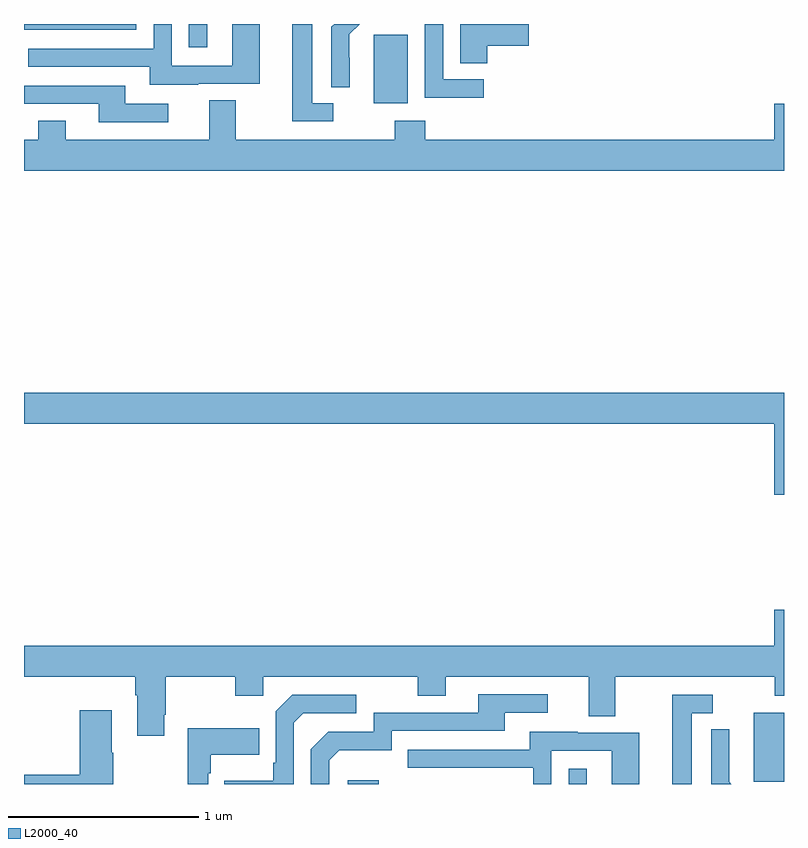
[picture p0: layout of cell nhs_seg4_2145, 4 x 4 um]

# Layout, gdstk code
import gdstk
lib = gdstk.Library(unit=1e-6, precision=1e-09)
def R(c, l, rs):  # rectangles x0, y0, x1, y1
    for r in rs: c.add(gdstk.rectangle(r[:2], r[2:], *l))
def P(c, l, *ps):  # polygons
    for p in ps: c.add(gdstk.Polygon(p, *l))
L2000_40 = (2000, 40)

nhs_seg4_2145 = lib.new_cell('nhs_seg4_2145')
R(nhs_seg4_2145, L2000_40, [(222.705,818.9,222.866,818.92), (223.866,818.9,223.963,818.98), (224.84,818.913,225,819.274), (222.842,822.482,223.021,822.843), (221.868,822.777,221.965,822.9), (221,822.87,221.592,822.9)])
P(nhs_seg4_2145, L2000_40, [(223.42,822.609),(223.206,822.609),(223.206,822.9),(223.11,822.9),(223.11,822.511),(223.42,822.511)],
  [(222.628,822.483),(222.517,822.483),(222.517,822.9),(222.413,822.9),(222.413,822.387),(222.628,822.387)],
  [(222.714,822.722),(222.713,822.722),(222.713,822.845),(222.768,822.9),(222.632,822.9),(222.618,822.886),(222.618,822.568),(222.714,822.568)],
  [(221.917,822.585),(222.241,822.585),(222.241,822.9),(222.096,822.9),(222.096,822.681),(221.778,822.681),(221.778,822.9),(221.682,822.9),(221.682,822.771),(221.023,822.771),(221.023,822.675),(221.663,822.675),(221.663,822.581),(221.917,822.581)],
  [(223.439,822.785),(223.657,822.785),(223.657,822.9),(223.295,822.9),(223.295,822.694),(223.439,822.694)],
  [(221.758,822.48),(221.533,822.48),(221.533,822.576),(221,822.576),(221,822.48),(221.393,822.48),(221.393,822.384),(221.758,822.384)],
  [(221.074,822.391),(221.074,822.292),(221,822.292),(221,822.128),(225,822.128),(225,822.481),(224.948,822.481),(224.948,822.292),(223.112,822.292),(223.112,822.391),(222.952,822.391),(222.952,822.292),(222.115,822.292),(222.115,822.5),(221.975,822.5),(221.975,822.292),(221.221,822.292),(221.221,822.391)],
  [(225,820.96),(221,820.96),(221,820.796),(224.948,820.796),(224.948,820.422),(225,820.422)],
  [(221,819.464),(221.585,819.464),(221.585,819.368),(221.597,819.368),(221.597,819.153),(221.737,819.153),(221.737,819.265),(221.745,819.265),(221.745,819.464),(222.112,819.464),(222.112,819.365),(222.258,819.365),(222.258,819.464),(223.072,819.464),(223.072,819.365),(223.219,819.365),(223.219,819.464),(223.973,819.464),(223.973,819.256),(224.113,819.256),(224.113,819.464),(224.95,819.464),(224.95,819.365),(225,819.365),(225,819.817),(224.948,819.817),(224.948,819.628),(221,819.628)],
  [(222.606,819.024),(222.659,819.077),(222.936,819.077),(222.936,819.18),(223.531,819.18),(223.531,819.276),(223.756,819.276),(223.756,819.372),(223.391,819.372),(223.391,819.276),(222.84,819.276),(222.84,819.174),(222.6,819.174),(222.51,819.084),(222.51,818.9),(222.606,818.9)],
  [(224.515,819.273),(224.626,819.273),(224.626,819.369),(224.411,819.369),(224.411,818.9),(224.515,818.9)],
  [(222.42,819.222),(222.471,819.273),(222.748,819.273),(222.748,819.369),(222.411,819.369),(222.324,819.282),(222.324,819.013),(222.312,819.013),(222.312,818.917),(222.055,818.917),(222.055,818.9),(222.42,818.9)],
  [(221.469,819.065),(221.461,819.065),(221.461,819.289),(221.294,819.289),(221.294,818.948),(221,818.948),(221,818.9),(221.469,818.9)],
  [(221.97,818.957),(221.983,818.957),(221.983,819.053),(222.239,819.053),(222.239,819.193),(221.862,819.193),(221.862,818.9),(221.97,818.9)],
  [(224.711,818.912),(224.711,819.034),(224.712,819.034),(224.712,819.188),(224.616,819.188),(224.616,818.9),(224.723,818.9)],
  [(223.776,819.075),(224.094,819.075),(224.094,818.9),(224.239,818.9),(224.239,819.171),(223.915,819.171),(223.915,819.175),(223.661,819.175),(223.661,819.081),(223.021,819.081),(223.021,818.985),(223.68,818.985),(223.68,818.9),(223.776,818.9)])

lib.write_gds('nhs_seg4_2145.gds')
